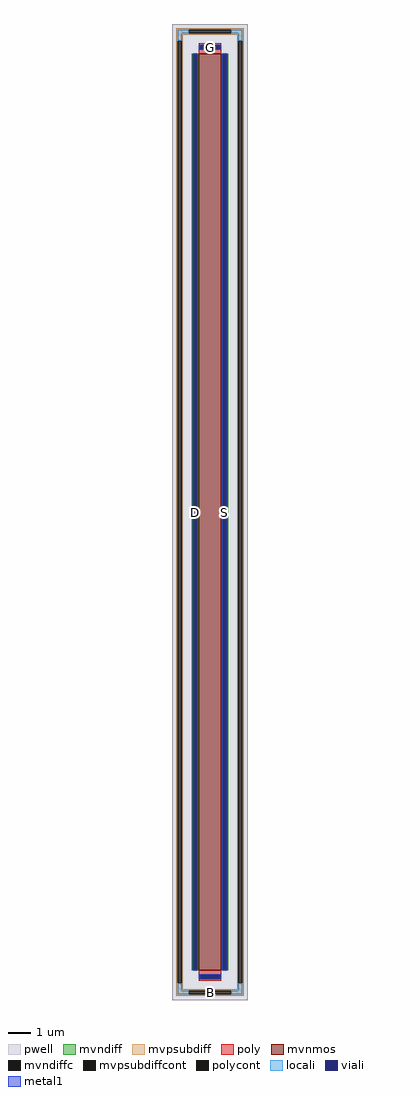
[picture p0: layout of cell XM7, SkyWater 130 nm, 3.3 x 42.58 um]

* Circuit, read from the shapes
.subckt XM7 B D S G
XM1 S G D B sky130_fd_pr__nfet_g5v0d10v5 w=40 l=1
.ends

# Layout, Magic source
magic
tech sky130A
magscale 1 2
<< pwell >>
rect -330 -4258 330 4258
<< mvnmos >>
rect -100 -4000 100 4000
<< mvndiff >>
rect -158 3988 -100 4000
rect -158 -3988 -146 3988
rect -112 -3988 -100 3988
rect -158 -4000 -100 -3988
rect 100 3988 158 4000
rect 100 -3988 112 3988
rect 146 -3988 158 3988
rect 100 -4000 158 -3988
<< mvndiffc >>
rect -146 -3988 -112 3988
rect 112 -3988 146 3988
<< mvpsubdiff >>
rect -294 4210 294 4222
rect -294 4176 -186 4210
rect 186 4176 294 4210
rect -294 4164 294 4176
rect -294 4114 -236 4164
rect -294 -4114 -282 4114
rect -248 -4114 -236 4114
rect 236 4114 294 4164
rect -294 -4164 -236 -4114
rect 236 -4114 248 4114
rect 282 -4114 294 4114
rect 236 -4164 294 -4114
rect -294 -4176 294 -4164
rect -294 -4210 -186 -4176
rect 186 -4210 294 -4176
rect -294 -4222 294 -4210
<< mvpsubdiffcont >>
rect -186 4176 186 4210
rect -282 -4114 -248 4114
rect 248 -4114 282 4114
rect -186 -4210 186 -4176
<< poly >>
rect -100 4072 100 4088
rect -100 4038 -84 4072
rect 84 4038 100 4072
rect -100 4000 100 4038
rect -100 -4038 100 -4000
rect -100 -4072 -84 -4038
rect 84 -4072 100 -4038
rect -100 -4088 100 -4072
<< polycont >>
rect -84 4038 84 4072
rect -84 -4072 84 -4038
<< locali >>
rect -282 4176 -186 4210
rect 186 4176 282 4210
rect -282 4114 -248 4176
rect 248 4114 282 4176
rect -100 4038 -84 4072
rect 84 4038 100 4072
rect -146 3988 -112 4004
rect -146 -4004 -112 -3988
rect 112 3988 146 4004
rect 112 -4004 146 -3988
rect -100 -4072 -84 -4038
rect 84 -4072 100 -4038
rect -282 -4176 -248 -4114
rect -33 -4176 33 -4160
rect 248 -4176 282 -4114
rect -282 -4210 -186 -4176
rect 186 -4210 282 -4176
rect -33 -4226 33 -4210
<< viali >>
rect -84 4038 84 4072
rect -146 -3988 -112 3988
rect 112 -3988 146 3988
rect -84 -4072 84 -4038
rect -17 -4210 17 -4176
<< metal1 >>
rect -96 4072 96 4078
rect -96 4038 -84 4072
rect 84 4038 96 4072
rect -96 4032 96 4038
rect -152 3988 -106 4000
rect -152 -3988 -146 3988
rect -112 -3988 -106 3988
rect -152 -4000 -106 -3988
rect 106 3988 152 4000
rect 106 -3988 112 3988
rect 146 -3988 152 3988
rect 106 -4000 152 -3988
rect -96 -4038 96 -4032
rect -96 -4072 -84 -4038
rect 84 -4072 96 -4038
rect -96 -4078 96 -4072
rect -30 -4176 30 -4163
rect -30 -4210 -17 -4176
rect 17 -4210 30 -4176
rect -30 -4223 30 -4210
<< labels >>
rlabel mvpsubdiffcont 0 -4193 0 -4193 0 B
port 4 nsew
rlabel mvndiffc -129 0 -129 0 0 D
port 5 nsew
rlabel mvndiffc 129 0 129 0 0 S
port 6 nsew
rlabel polycont 0 4055 0 4055 0 G
port 7 nsew
<< properties >>
string FIXED_BBOX -265 -4193 265 4193
<< end >>
